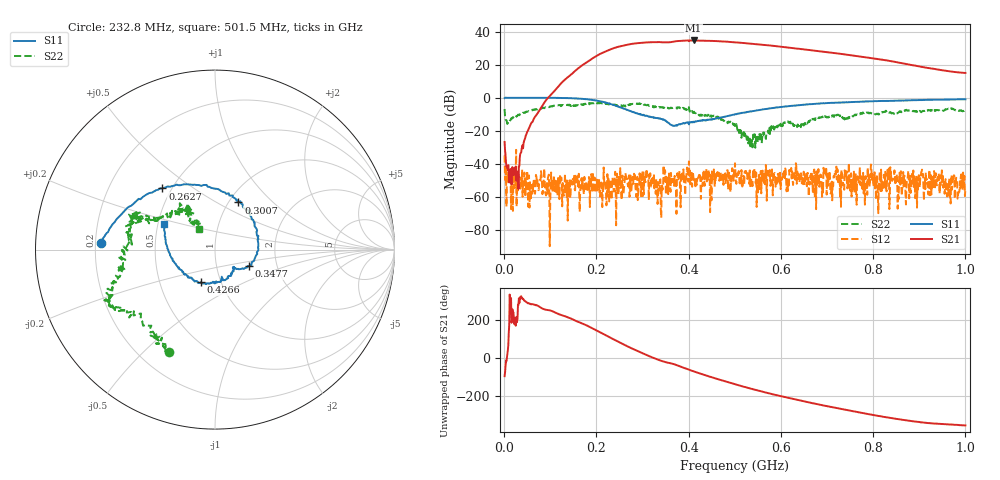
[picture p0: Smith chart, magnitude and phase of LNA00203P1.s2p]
! Created with skrf 1.9.0 (http://scikit-rf.org).
# Hz S RI R 50.0
!freq ReS11 ImS11 ReS21 ImS21 ReS12 ImS12 ReS22 ImS22
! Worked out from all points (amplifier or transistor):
!   1001 points, 1 MHz to 1 GHz, reference 50 ohm
!   highest |S21| = 34.6 dB at 410.6 MHz (marker M1)
!   |S21| within 3 dB of that: 260.1 MHz to 573.8 MHz (313.7 MHz wide, 75.3 % of centre)
!   unconditionally stable (mu >= 1): start of sweep to 86.87 MHz; 223.8 MHz to 400.4 MHz; 400.8 MHz to end of sweep (the widest 3 of 13)
!   at 166.8 MHz: K = 1.62, MAG = 30.9 dB, |S12| = -51.8 dB
!   at 500.5 MHz: K = 1.11, MAG = 34.6 dB, |S12| = -39.7 dB
!   at 1 GHz: K = 8.14, MAG = 22.8 dB, |S12| = -54.8 dB
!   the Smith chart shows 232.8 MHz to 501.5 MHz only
!   S11 on the Smith chart (normalised r, x): 232.8 MHz: 0.22, +0.03; 262.7 MHz: 0.45, +0.38; 300.7 MHz: 1.11, +0.64; 347.7 MHz: 1.43, -0.28; 426.6 MHz: 0.80, -0.30; 501.5 MHz: 0.54, +0.17
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1000000  0.972 -0.00107  -0.0057 -0.0454  -0.0163 0.0074  0.3579 0.2808
1.08892e8  0.5079 -0.8489  -0.7186 -1.423  -0.00151 -4.79e-05  0.4282 -0.3792
1.67833e8  -0.2591 -0.8885  -9.254 -0.7457  0.00315 0.00187  0.0509 -0.6156
2.06794e8  -0.6756 -0.4061  -15.43 13.75  -0.000757 0.000926  -0.161 -0.6528
2.32768e8  -0.6327 0.0395  -7.303 28.89  -0.000806 -0.000141  -0.2572 -0.569
2.62738e8  -0.2934 0.3404  15.17 35.67  -0.00508 -0.00148  -0.4124 -0.3554
2.81719e8  -0.0468 0.3602  30.72 30.4  0.00143 0.00479  -0.5918 -0.3125
3.007e8  0.1301 0.263  42.19 18.39  -0.000689 -0.000797  -0.5721 -0.2277
3.34666e8  0.24 -0.00657  47.22 -8.517  6.89e-05 0.00261  -0.4994 -0.057
3.47653e8  0.1877 -0.0929  44.07 -16.99  -0.000782 0.00294  -0.4993 0.00415
3.77623e8  0.105 -0.1094  38.8 -34.35  -0.000811 0.00302  -0.4693 0.1773
4.1059e8  -0.00455 -0.1876  17.23 -51.06  0.00026 0.00361  -0.2975 0.1794
4.26574e8  -0.0789 -0.1815  5.223 -53.04  -0.000234 -0.000839  -0.2237 0.2136
4.59541e8  -0.2189 -0.0802  -17.77 -48.36  0.00401 -0.00264  -0.1297 0.2301
5.005e8  -0.2846 0.1412  -36.53 -30.45  0.0102 0.00211  -0.0778 0.1057
5.01499e8  -0.284 0.1435  -36.63 -29.65  0.00501 0.00111  -0.0899 0.113
5.4046e8  -0.1968 0.3412  -41.24 -9.509  0.00629 -0.00291  -0.0267 0.0726
5.88412e8  0.0152 0.4999  -34.73 10.62  0.000245 -0.00202  -0.1022 -0.0721
6.67333e8  0.4025 0.4979  -13.4 23.29  0.000644 -0.00239  -0.2103 -0.0478
7.53247e8  0.6822 0.2811  3.883 18.69  -0.00101 0.000116  -0.2674 0.0102
8.34166e8  0.7977 0.0164  9.628 8.828  -0.00467 -0.00547  -0.3515 0.0249
1e9  0.7265 -0.5243  5.611 0.1047  -0.00182 -0.000118  -0.2482 0.308
